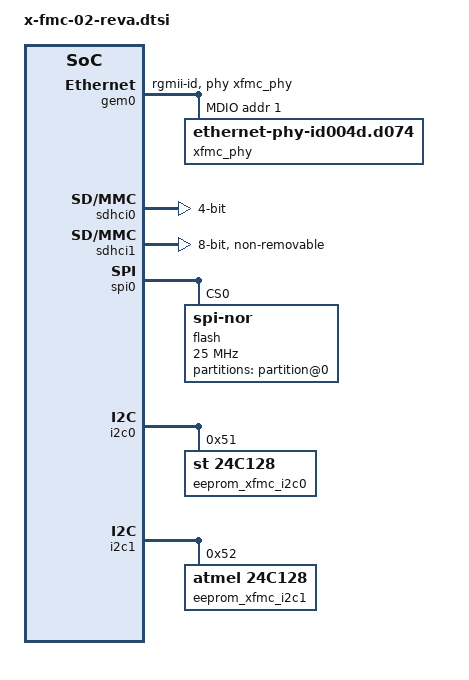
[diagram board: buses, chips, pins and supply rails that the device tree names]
// SPDX-License-Identifier: GPL-2.0
/*
 * dts overlay file for X-FMC-02 daughter card revA
 *
 * (C) Copyright 2019 - 2026, Advanced Micro Devices, Inc.
 */

&{/} {
	model = "X-FMC-02 revA";

	/* 25MHz crystal for AR8031 PHY */
	xfmc_gem_clk: xfmc-gem-clk {
		compatible = "fixed-clock";
		#clock-cells = <0>;
		clock-frequency = <25000000>;
	};
};

#if 0
&i2c_scm {
	#address-cells = <1>;
	#size-cells = <0>;

	/* X-FMC-02 FMC1 I2C EEPROM - M24C02-R (u19) */
	eeprom_fmc1: eeprom@51 {
		compatible = "atmel,24c02";
		reg = <0x51>;
		label = "x-fmc-02-fmc1-eeprom";
	};

	/* 9FGV1006BQ PCIe Gen4 Clock Generator (u16) disconnected */
	/* SI5338A (u15) 0x70 */
	/* 97ML1245A (u17) */
};
#endif

&gem0 { /* Replace with actual node from PL design */
	phy-handle = <&xfmc_phy>;
	phy-mode = "rgmii-id";

	mdio {
		#address-cells = <1>;
		#size-cells = <0>;

		xfmc_phy: ethernet-phy@1 { /* u28 Qualcomm Atheros AR8031 */
			compatible = "ethernet-phy-id004d.d074";
			reg = <1>;
			/* AR8031 internal delays configured via strapping */
		};
	};
};

&sdhci0 {
	no-1-8-v;
	disable-wp;
	bus-width = <4>;
};

&sdhci1 { /* MTFC8GAKAJCN-1M 8GB (U1) */
	bus-width = <8>;
	non-removable;
	no-sdio;
	no-sd;
};

&spi0 { /* Replace with actual node from PL design */
	#address-cells = <1>;
	#size-cells = <0>;

	flash@0 {
		compatible = "jedec,spi-nor"; /* u29 IS25LP128 */
		reg = <0>;
		spi-max-frequency = <25000000>;
		#address-cells = <1>;
		#size-cells = <1>;

		partition@0 {
			reg = <0 0x200000>; /* 2MB */
		};
	};
};

&i2c0 {
	#address-cells = <1>;
	#size-cells = <0>;

	eeprom_xfmc_i2c0: eeprom@51 { /* u13 m24128-br */
		compatible = "st,24c128";
		reg = <0x51>;
	};
};

&i2c1 {
	#address-cells = <1>;
	#size-cells = <0>;

	eeprom_xfmc_i2c1: eeprom@52 {
		compatible = "atmel,24c128"; /* u14 cat24c128y */
		reg = <0x52>;
	};
};
